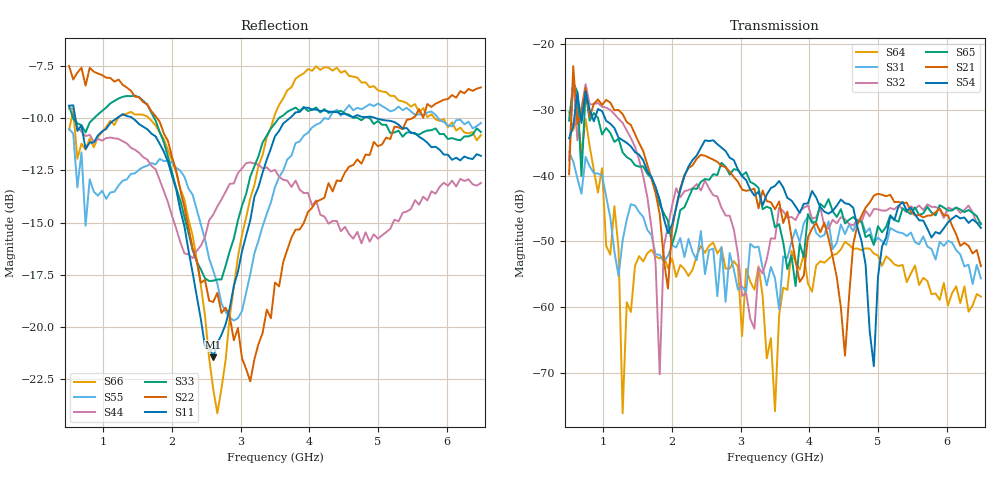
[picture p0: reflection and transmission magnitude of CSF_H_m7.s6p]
!Keysight Technologies,M9804A,MY58100912,A.14.10.03
!Date: Thursday, April 27, 2023 10:28:33
!Correction: S11(C  6-Port  )
!S12(C  6-Port  )
!S13(C  6-Port  )
!S14(C  6-Port  )
!S15(C  6-Port  )
!S16(C  6-Port  )
!S21(C  6-Port  )
!S22(C  6-Port  )
!S23(C  6-Port  )
!S24(C  6-Port  )
!S25(C  6-Port  )
!S26(C  6-Port  )
!S31(C  6-Port  )
!S32(C  6-Port  )
!S33(C  6-Port  )
!S34(C  6-Port  )
!S35(C  6-Port  )
!S36(C  6-Port  )
!S41(C  6-Port  )
!S42(C  6-Port  )
!S43(C  6-Port  )
!S44(C  6-Port  )
!S45(C  6-Port  )
!S46(C  6-Port  )
!S51(C  6-Port  )
!S52(C  6-Port  )
!S53(C  6-Port  )
!S54(C  6-Port  )
!S55(C  6-Port  )
!S56(C  6-Port  )
!S61(C  6-Port  )
!S62(C  6-Port  )
!S63(C  6-Port  )
!S64(C  6-Port  )
!S65(C  6-Port  )
!S66(C  6-Port  )
!S6P File: Measurement: :
# Hz S  RI  R 50
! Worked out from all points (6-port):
!   101 points, 500 MHz to 6.5 GHz, reference 50 ohm
!   strongest paths, dB at 500 MHz, 2 GHz, 3.5 GHz, 5 GHz, 6.5 GHz:
!     S54: -34.3, -47.5, -41.6, -55.4, -47.9
!     S21: -39.8, -48.1, -45.1, -42.8, -53.7
!     S65: -31.6, -50.5, -47.9, -47.7, -47.4
!     S32: -37.7, -44.5, -49.6, -45.1, -47.2
!     S31: -36.4, -50.6, -55.6, -49.4, -55.6
!     S64: -30.4, -52.6, -75.8, -52.1, -58.4
!   lowest |S11| = -21.5 dB at 2.6 GHz (marker M1), VSWR 1.18, Z = 42.5 + j2.17 ohm
!   |S11| at or under -10 dB: 590.7 MHz to 1.192 GHz (601.1 MHz wide, 67.4 % of centre); 1.429 GHz to 3.711 GHz (2.282 GHz wide, 88.8 % of centre); 4.977 GHz to end of sweep
